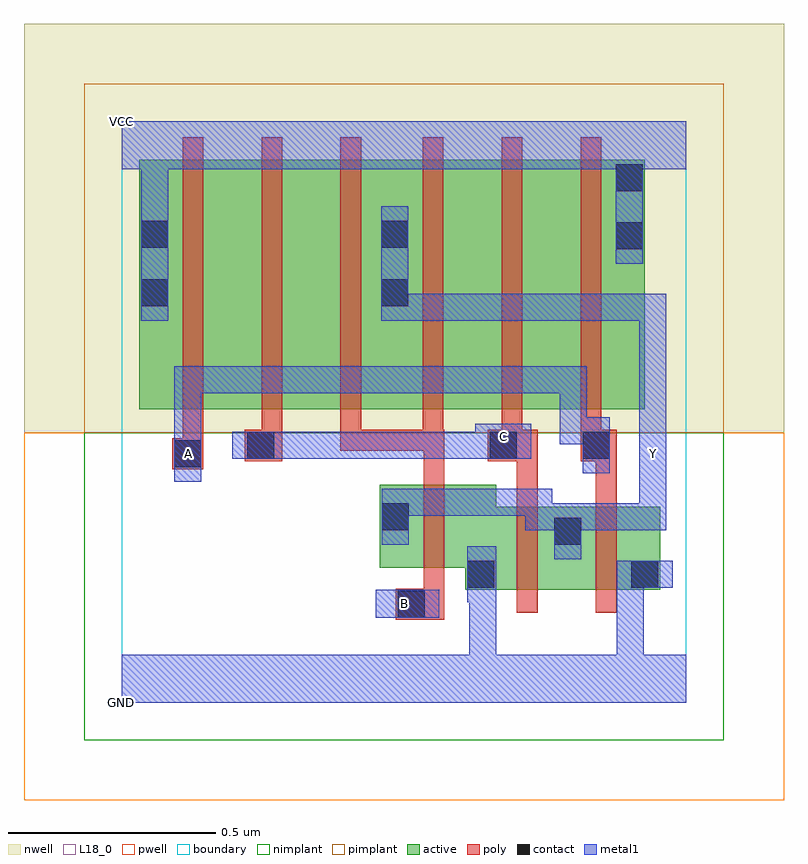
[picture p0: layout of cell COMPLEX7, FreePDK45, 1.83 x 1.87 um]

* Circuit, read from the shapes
.subckt COMPLEX7 A B C GND VCC Y
M1 GND B Y VSUBS nfet w=0.2u l=0.05u
M2 Y C GND VSUBS nfet w=0.2u l=0.05u
M3 GND A Y VSUBS nfet w=0.2u l=0.05u
M4 n1 A VCC n2 pfet w=0.6u l=0.05u
M5 n3 C n1 n2 pfet w=0.6u l=0.05u
M6 Y B n3 n2 pfet w=0.6u l=0.05u
M7 n4 B Y n2 pfet w=0.6u l=0.05u
M8 n5 C n4 n2 pfet w=0.6u l=0.05u
M9 VCC A n5 n2 pfet w=0.6u l=0.05u
.ends

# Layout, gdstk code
import gdstk
lib = gdstk.Library(unit=1e-6, precision=1e-09)
def R(c, l, rs):  # rectangles x0, y0, x1, y1
    for r in rs: c.add(gdstk.rectangle(r[:2], r[2:], *l))
def A(c, l, x, y, w, h, nx, ny, dx, dy):  # array of equal rectangles
    R(c, l, [(x+i*dx, y+j*dy, x+i*dx+w, y+j*dy+h) for i in range(nx) for j in range(ny)])
active = (1, 0)
pwell = (2, 0)
nwell = (3, 0)
nimplant = (4, 0)
pimplant = (5, 0)
poly = (9, 0)
contact = (10, 0)
metal1 = (11, 0)
L18_0 = (18, 0)
boundary = (235, 0)

complex7 = lib.new_cell('COMPLEX7')
R(complex7, active, [(0.827,0.272,1.112,0.472), (0.827,0.272,0.902,0.397), (1.037,0.272,1.297,0.472), (1.222,0.272,1.297,0.472), (0.622,0.325,0.902,0.525), (1.037,0.375,1.112,0.45), (0.622,0.395,0.697,0.525), (0.042,0.707,0.117,1.305), (0.042,0.707,0.267,1.307), (0.267,0.707,0.457,1.307), (0.457,0.707,0.695,1.307), (0.62,0.707,0.845,1.307), (0.62,0.707,0.695,1.2), (0.845,0.707,1.035,1.307), (1.035,0.707,1.26,1.307), (1.185,0.707,1.26,1.305)])
R(complex7, pwell, [(-0.235,-0.235,1.595,0.65)])
R(complex7, nwell, [(-0.235,0.65,1.595,1.635)])
R(complex7, nimplant, [(-0.09,-0.09,1.45,0.65)])
R(complex7, pimplant, [(-0.09,0.65,1.45,1.49)])
A(complex7, poly, 0.725, 0.607, 0.05, 0.095, 3, 1, 0.19, 0)
A(complex7, poly, 0.147, 0.652, 0.05, 0.71, 3, 1, 0.19, 0)
A(complex7, poly, 0.725, 0.652, 0.05, 0.71, 3, 1, 0.19, 0)
R(complex7, poly, [(0.66,0.2,0.777,0.275), (0.952,0.217,1.002,0.527), (1.142,0.217,1.192,0.527), (0.727,0.225,0.777,0.32), (0.727,0.27,0.777,0.58), (0.952,0.477,1.002,0.632), (1.142,0.477,1.192,0.632), (0.727,0.53,0.777,0.657), (0.122,0.562,0.197,0.637), (0.297,0.582,0.387,0.657), (0.882,0.582,1.002,0.657), (1.105,0.582,1.192,0.657), (0.147,0.587,0.197,0.702), (0.337,0.607,0.387,0.702), (0.527,0.607,0.577,0.702), (0.527,0.607,0.577,0.657), (0.527,0.607,0.775,0.657), (0.725,0.607,0.775,0.657), (0.725,0.607,0.775,0.657), (0.725,0.607,0.777,0.657)])
R(complex7, contact, [(0.665,0.205,0.73,0.27), (0.832,0.277,0.897,0.342), (1.227,0.277,1.292,0.342), (1.042,0.38,1.107,0.445), (0.627,0.415,0.692,0.48), (0.127,0.567,0.192,0.632), (0.302,0.587,0.367,0.652), (0.887,0.587,0.952,0.652), (1.11,0.587,1.175,0.652), (0.047,0.955,0.112,1.02), (0.625,0.955,0.69,1.02), (1.19,1.092,1.255,1.157), (0.047,1.095,0.112,1.16), (0.625,1.095,0.69,1.16), (1.19,1.232,1.255,1.297)])
A(complex7, metal1, 0.837, 0.92, 0.065, 0.065, 3, 1, 0.205, 0)
R(complex7, metal1, [(0,0,1.36,0.115), (0.837,0.05,0.902,0.115), (0.837,0.05,0.902,0.115), (0.837,0.05,0.902,0.115), (0.837,0.05,0.902,0.115), (0.837,0.05,0.902,0.307), (1.192,0.05,1.257,0.342), (0.612,0.205,0.765,0.272), (0.832,0.242,0.902,0.377), (0.837,0.242,0.902,0.307), (0.837,0.242,0.902,0.307), (1.192,0.277,1.257,0.342), (1.192,0.277,1.257,0.342), (1.192,0.277,1.257,0.342), (1.192,0.277,1.257,0.342), (1.192,0.277,1.257,0.342), (1.192,0.277,1.257,0.342), (1.192,0.277,1.327,0.342), (1.042,0.345,1.107,0.48), (0.627,0.38,0.692,0.515), (0.972,0.415,1.107,0.48), (0.972,0.415,1.037,0.515), (1.042,0.415,1.312,0.48), (1.247,0.415,1.312,0.48), (1.247,0.415,1.312,0.48), (1.247,0.415,1.312,0.48), (1.247,0.415,1.312,0.597), (0.627,0.45,0.692,0.515), (0.627,0.45,0.692,0.515), (0.627,0.45,0.97,0.515), (0.905,0.45,0.97,0.515), (0.905,0.45,1.037,0.515), (0.127,0.532,0.192,0.667), (1.247,0.532,1.312,0.667), (1.11,0.552,1.175,0.687), (0.267,0.587,0.402,0.652), (0.337,0.587,0.54,0.652), (0.475,0.587,0.54,0.652), (0.475,0.587,0.54,0.652), (0.475,0.587,0.54,0.652), (0.475,0.587,0.677,0.652), (0.612,0.587,0.677,0.652), (0.612,0.587,0.677,0.652), (0.612,0.587,0.677,0.652), (0.612,0.587,0.917,0.652), (0.852,0.587,0.917,0.652), (0.852,0.587,0.917,0.652), (0.852,0.587,0.987,0.672), (0.127,0.602,0.192,0.667), (0.127,0.602,0.192,0.667), (0.127,0.602,0.192,0.81), (1.247,0.602,1.312,0.985), (1.055,0.622,1.12,0.687), (1.055,0.622,1.175,0.687), (1.055,0.622,1.12,0.81), (0.127,0.745,0.192,0.81), (0.127,0.745,0.33,0.81), (0.265,0.745,0.33,0.81), (0.265,0.745,0.33,0.81), (0.265,0.745,0.33,0.81), (0.265,0.745,0.54,0.81), (0.475,0.745,0.54,0.81), (0.475,0.745,0.677,0.81), (0.612,0.745,0.677,0.81), (0.612,0.745,0.677,0.81), (0.612,0.745,0.677,0.81), (0.612,0.745,0.902,0.81), (0.837,0.745,0.902,0.81), (0.837,0.745,0.902,0.81), (0.837,0.745,0.902,0.81), (0.837,0.745,1.12,0.81), (1.055,0.745,1.12,0.81), (0.047,0.92,0.112,1.195), (0.625,0.92,0.69,1.195), (0.625,0.92,0.69,0.985), (0.625,0.92,0.69,0.985), (0.625,0.92,0.902,0.985), (0.837,0.92,0.902,0.985), (0.837,0.92,0.902,0.985), (0.837,0.92,1.107,0.985), (1.042,0.92,1.312,0.985), (1.247,0.92,1.312,0.985), (1.247,0.92,1.312,0.985), (1.247,0.92,1.312,0.985), (1.247,0.92,1.312,0.985), (1.19,1.057,1.255,1.332), (0.047,1.13,0.112,1.35), (1.19,1.267,1.255,1.35), (0,1.285,1.36,1.4)])
A(complex7, L18_0, 0.837, 0.92, 0.065, 0.065, 3, 1, 0.205, 0)
R(complex7, L18_0, [(0,0,1.36,0.115), (0.837,0.05,0.902,0.115), (0.837,0.05,0.902,0.115), (0.837,0.05,0.902,0.115), (0.837,0.05,0.902,0.115), (0.837,0.05,0.902,0.307), (1.192,0.05,1.257,0.342), (0.612,0.205,0.765,0.272), (0.647,0.207,0.712,0.272), (0.832,0.242,0.902,0.377), (0.837,0.242,0.902,0.307), (0.837,0.242,0.902,0.307), (1.192,0.277,1.257,0.342), (1.192,0.277,1.257,0.342), (1.192,0.277,1.257,0.342), (1.192,0.277,1.257,0.342), (1.192,0.277,1.257,0.342), (1.192,0.277,1.257,0.342), (1.192,0.277,1.327,0.342), (1.042,0.345,1.107,0.48), (0.627,0.38,0.692,0.515), (0.972,0.415,1.107,0.48), (0.972,0.415,1.037,0.515), (1.042,0.415,1.312,0.48), (1.247,0.415,1.312,0.48), (1.247,0.415,1.312,0.48), (1.247,0.415,1.312,0.48), (1.247,0.415,1.312,0.597), (0.627,0.45,0.692,0.515), (0.627,0.45,0.692,0.515), (0.627,0.45,0.97,0.515), (0.905,0.45,0.97,0.515), (0.905,0.45,1.037,0.515), (0.127,0.532,0.192,0.667), (1.247,0.532,1.312,0.667), (1.11,0.552,1.175,0.687), (0.127,0.567,0.192,0.632), (1.247,0.567,1.312,0.632), (0.267,0.587,0.402,0.652), (0.337,0.587,0.54,0.652), (0.475,0.587,0.54,0.652), (0.475,0.587,0.54,0.652), (0.475,0.587,0.54,0.652), (0.475,0.587,0.677,0.652), (0.612,0.587,0.677,0.652), (0.612,0.587,0.677,0.652), (0.612,0.587,0.677,0.652), (0.612,0.587,0.917,0.652), (0.852,0.587,0.917,0.652), (0.852,0.587,0.917,0.652), (0.852,0.587,0.987,0.672), (0.127,0.602,0.192,0.667), (0.127,0.602,0.192,0.667), (0.127,0.602,0.192,0.81), (1.247,0.602,1.312,0.985), (0.887,0.607,0.952,0.672), (1.055,0.622,1.12,0.687), (1.055,0.622,1.12,0.81), (1.055,0.622,1.175,0.687), (0.127,0.745,0.192,0.81), (0.127,0.745,0.33,0.81), (0.265,0.745,0.33,0.81), (0.265,0.745,0.33,0.81), (0.265,0.745,0.33,0.81), (0.265,0.745,0.54,0.81), (0.475,0.745,0.54,0.81), (0.475,0.745,0.677,0.81), (0.612,0.745,0.677,0.81), (0.612,0.745,0.677,0.81), (0.612,0.745,0.677,0.81), (0.612,0.745,0.902,0.81), (0.837,0.745,0.902,0.81), (0.837,0.745,0.902,0.81), (0.837,0.745,0.902,0.81), (0.837,0.745,1.12,0.81), (1.055,0.745,1.12,0.81), (0.047,0.92,0.112,1.195), (0.625,0.92,0.69,1.195), (0.625,0.92,0.69,0.985), (0.625,0.92,0.69,0.985), (0.625,0.92,0.902,0.985), (0.837,0.92,0.902,0.985), (0.837,0.92,0.902,0.985), (0.837,0.92,1.107,0.985), (1.042,0.92,1.312,0.985), (1.247,0.92,1.312,0.985), (1.247,0.92,1.312,0.985), (1.247,0.92,1.312,0.985), (1.247,0.92,1.312,0.985), (1.19,1.057,1.255,1.332), (0.047,1.13,0.112,1.35), (1.19,1.267,1.255,1.35), (0,1.285,1.36,1.4)])
R(complex7, boundary, [(0,0,1.36,1.4)])
complex7.add(gdstk.Label('A', (0.16,0.6), layer=11, texttype=0))
complex7.add(gdstk.Label('B', (0.68,0.24), layer=11, texttype=0))
complex7.add(gdstk.Label('C', (0.92,0.64), layer=11, texttype=0))
complex7.add(gdstk.Label('Y', (1.28,0.6), layer=11, texttype=0))
complex7.add(gdstk.Label('VCC', (0,1.4), layer=11, texttype=0))
complex7.add(gdstk.Label('GND', (0,0), layer=11, texttype=0))

lib.write_gds('COMPLEX7.gds')
